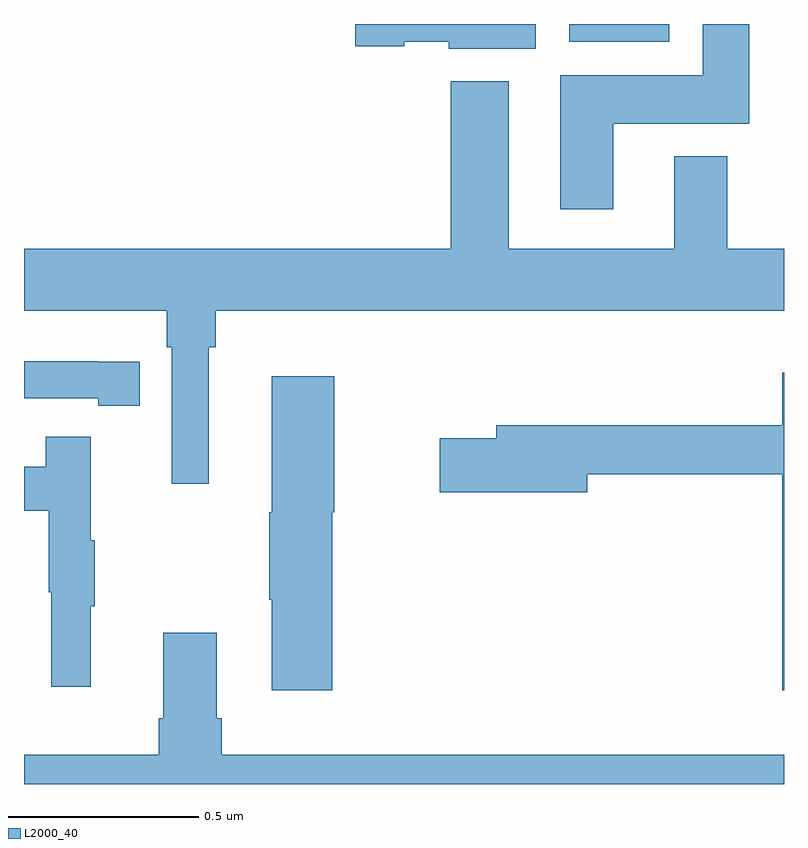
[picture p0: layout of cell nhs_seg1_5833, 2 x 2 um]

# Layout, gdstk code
import gdstk
lib = gdstk.Library(unit=1e-6, precision=1e-09)
def R(c, l, rs):  # rectangles x0, y0, x1, y1
    for r in rs: c.add(gdstk.rectangle(r[:2], r[2:], *l))
def P(c, l, *ps):  # polygons
    for p in ps: c.add(gdstk.Polygon(p, *l))
L2000_40 = (2000, 40)

nhs_seg1_5833 = lib.new_cell('nhs_seg1_5833')
R(nhs_seg1_5833, L2000_40, [(185.435,507.152,185.698,507.199)])
P(nhs_seg1_5833, L2000_40, [(185.551,506.936),(185.908,506.936),(185.908,507.199),(185.786,507.199),(185.786,507.064),(185.411,507.064),(185.411,506.712),(185.551,506.712)],
  [(185.347,507.199),(184.872,507.199),(184.872,507.14),(185.001,507.14),(185.001,507.152),(185.118,507.152),(185.118,507.134),(185.347,507.134)],
  [(184.486,506.348),(184.505,506.348),(184.505,506.444),(186,506.444),(186,506.608),(185.851,506.608),(185.851,506.851),(185.711,506.851),(185.711,506.608),(185.275,506.608),(185.275,507.049),(185.123,507.049),(185.123,506.608),(184,506.608),(184,506.444),(184.376,506.444),(184.376,506.348),(184.389,506.348),(184.389,505.989),(184.486,505.989)],
  [(184.304,506.31),(184.196,506.31),(184.196,506.311),(184,506.311),(184,506.214),(184.196,506.214),(184.196,506.194),(184.304,506.194)],
  [(186,506.281),(185.996,506.281),(185.996,506.143),(185.243,506.143),(185.243,506.109),(185.094,506.109),(185.094,505.967),(185.482,505.967),(185.482,506.014),(185.996,506.014),(185.996,505.446),(186,505.446)],
  [(184.811,505.914),(184.816,505.914),(184.816,506.272),(184.652,506.272),(184.652,505.914),(184.645,505.914),(184.645,505.684),(184.652,505.684),(184.652,505.446),(184.811,505.446)],
  [(184.175,505.667),(184.186,505.667),(184.186,505.841),(184.175,505.841),(184.175,506.113),(184.057,506.113),(184.057,506.034),(184,506.034),(184,505.918),(184.065,505.918),(184.065,505.704),(184.072,505.704),(184.072,505.455),(184.175,505.455)],
  [(186,505.276),(184.52,505.276),(184.52,505.372),(184.507,505.372),(184.507,505.597),(184.367,505.597),(184.367,505.372),(184.355,505.372),(184.355,505.276),(184,505.276),(184,505.199),(186,505.199)])

lib.write_gds('nhs_seg1_5833.gds')
